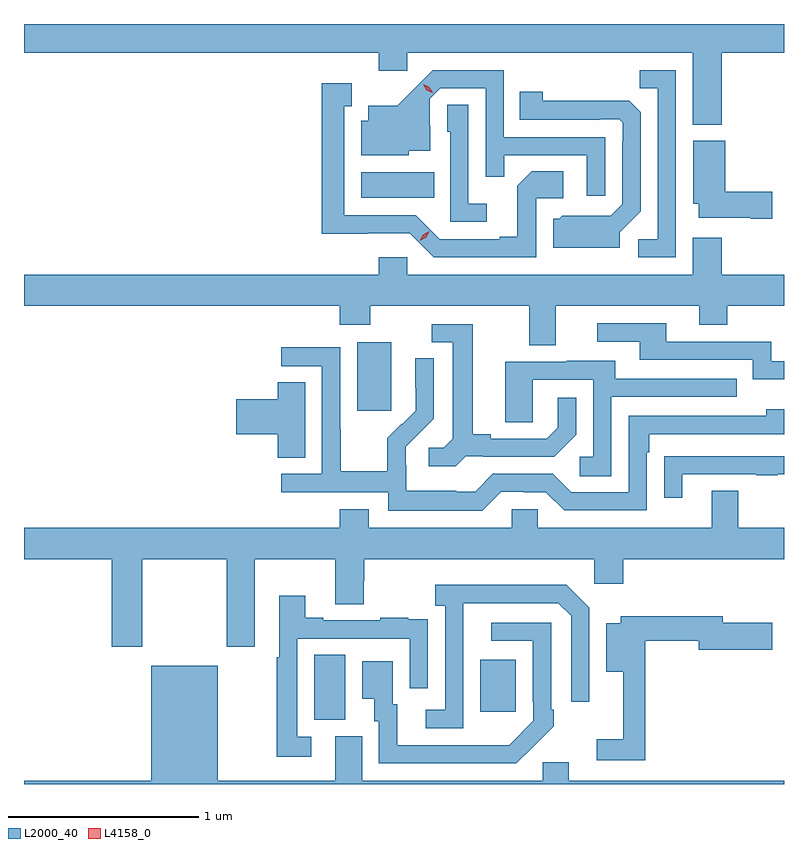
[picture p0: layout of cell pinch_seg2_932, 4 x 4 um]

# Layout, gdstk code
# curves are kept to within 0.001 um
import gdstk
lib = gdstk.Library(unit=1e-6, precision=1e-09)
def R(c, l, rs):  # rectangles x0, y0, x1, y1
    for r in rs: c.add(gdstk.rectangle(r[:2], r[2:], *l))
def P(c, l, *ps):  # polygons
    for p in ps: c.add(gdstk.Polygon(p, *l))
L2000_40 = (2000, 40)
L4158_0 = (4158, 0)

pinch_seg2_932 = lib.new_cell('pinch_seg2_932')
R(pinch_seg2_932, L2000_40, [(316.946,649.453,317.11,649.796), (317.819,649.497,318.007,649.771), (317.171,651.081,317.35,651.442), (317.192,652.202,317.576,652.336)])
P(pinch_seg2_932, L2000_40, [(319.091,652.964),(319.418,652.964),(319.418,653.116),(315.418,653.116),(315.418,652.964),(317.285,652.964),(317.285,652.869),(317.436,652.869),(317.436,652.964),(318.938,652.964),(318.938,652.586),(319.091,652.586)],
  [(318.849,652.872),(318.658,652.872),(318.658,652.777),(318.753,652.777),(318.753,651.984),(318.651,651.984),(318.651,651.888),(318.849,651.888)],
  [(318.477,652.521),(317.943,652.521),(317.943,652.872),(317.57,652.872),(317.383,652.687),(317.231,652.687),(317.231,652.606),(317.192,652.606),(317.192,652.424),(317.442,652.424),(317.442,652.448),(317.557,652.448),(317.557,652.58),(317.553,652.58),(317.553,652.722),(317.61,652.779),(317.847,652.779),(317.847,652.312),(317.945,652.312),(317.945,652.425),(318.381,652.425),(318.381,652.212),(318.477,652.212)],
  [(318.114,652.2),(318.256,652.2),(318.256,652.34),(318.091,652.34),(318.015,652.264),(318.015,651.997),(317.921,651.997),(317.921,651.984),(317.607,651.984),(317.481,652.11),(317.104,652.11),(317.104,652.683),(317.143,652.683),(317.143,652.804),(316.986,652.804),(316.986,652.013),(317.448,652.014),(317.574,651.888),(318.114,651.888)],
  [(318.553,652.02),(318.663,652.13),(318.663,652.652),(318.604,652.711),(318.147,652.712),(318.147,652.759),(318.028,652.759),(318.028,652.611),(318.452,652.611),(318.452,652.614),(318.552,652.614),(318.57,652.596),(318.57,652.496),(318.567,652.496),(318.567,652.167),(318.507,652.107),(318.25,652.108),(318.234,652.092),(318.203,652.092),(318.203,651.938),(318.553,651.938)],
  [(317.854,652.171),(317.757,652.171),(317.757,652.691),(317.646,652.691),(317.646,652.548),(317.661,652.548),(317.661,652.074),(317.854,652.074)],
  [(319.357,652.232),(319.108,652.232),(319.108,652.501),(318.941,652.501),(318.941,652.17),(318.968,652.17),(318.968,652.097),(319.244,652.097),(319.244,652.09),(319.357,652.09)],
  [(317.436,651.889),(317.285,651.889),(317.285,651.796),(315.418,651.796),(315.418,651.632),(317.081,651.632),(317.081,651.533),(317.241,651.533),(317.241,651.632),(318.077,651.632),(318.077,651.424),(318.217,651.424),(318.217,651.632),(318.971,651.632),(318.971,651.533),(319.119,651.533),(319.119,651.632),(319.418,651.632),(319.418,651.796),(319.091,651.796),(319.091,651.991),(318.938,651.991),(318.938,651.796),(317.436,651.796)],
  [(319.418,651.342),(319.35,651.342),(319.35,651.444),(318.799,651.444),(318.799,651.54),(318.435,651.54),(318.435,651.444),(318.659,651.444),(318.659,651.348),(319.254,651.348),(319.254,651.245),(319.418,651.245)],
  [(317.742,650.841),(317.836,650.841),(317.836,650.838),(318.208,650.838),(318.324,650.954),(318.324,651.148),(318.227,651.148),(318.227,650.991),(318.17,650.934),(317.875,650.934),(317.875,650.957),(317.779,650.957),(317.779,651.537),(317.565,651.537),(317.565,651.441),(317.675,651.441),(317.675,650.933),(317.628,650.886),(317.547,650.886),(317.547,650.789),(317.69,650.789)],
  [(317.931,650.655),(318.047,650.655),(318.047,650.652),(318.165,650.652),(318.261,650.556),(318.696,650.556),(318.696,650.861),(318.709,650.861),(318.709,650.958),(319.418,650.958),(319.418,651.088),(319.325,651.088),(319.325,651.054),(318.6,651.054),(318.6,650.652),(318.297,650.652),(318.201,650.748),(317.886,650.748),(317.793,650.655),(317.693,650.655),(317.693,650.659),(317.43,650.659),(317.43,650.793),(317.428,650.793),(317.428,650.89),(317.574,651.038),(317.574,651.356),(317.478,651.356),(317.478,651.202),(317.48,651.202),(317.48,651.08),(317.409,651.009),(317.406,651.012),(317.329,650.935),(317.329,650.761),(317.085,650.761),(317.085,650.984),(317.082,650.984),(317.082,651.414),(316.773,651.414),(316.773,651.315),(316.986,651.315),(316.986,650.748),(316.773,650.748),(316.773,650.652),(317.334,650.652),(317.334,650.555),(317.831,650.555)],
  [(318.51,651.153),(319.169,651.153),(319.169,651.249),(318.529,651.249),(318.529,651.343),(318.275,651.343),(318.275,651.339),(317.951,651.339),(317.951,651.019),(318.096,651.019),(318.096,651.243),(318.414,651.243),(318.414,650.838),(318.342,650.838),(318.342,650.737),(318.51,650.737)],
  [(316.897,651.23),(316.754,651.23),(316.754,651.14),(316.536,651.14),(316.536,650.957),(316.754,650.957),(316.754,650.833),(316.897,650.833)],
  [(318.883,650.745),(319.273,650.745),(319.273,650.74),(319.385,650.74),(319.385,650.745),(319.418,650.745),(319.418,650.841),(318.889,650.841),(318.889,650.84),(318.787,650.84),(318.787,650.622),(318.883,650.622)],
  [(316.041,650.3),(316.486,650.3),(316.486,649.839),(316.633,649.839),(316.633,650.3),(317.057,650.3),(317.057,650.062),(317.205,650.062),(317.205,650.187),(317.21,650.187),(317.21,650.3),(318.42,650.3),(318.42,650.169),(318.572,650.169),(318.572,650.3),(319.418,650.3),(319.418,650.464),(319.177,650.464),(319.177,650.659),(319.037,650.659),(319.037,650.464),(318.123,650.464),(318.123,650.562),(317.985,650.562),(317.985,650.464),(317.233,650.464),(317.233,650.563),(317.081,650.563),(317.081,650.464),(315.418,650.464),(315.418,650.3),(315.881,650.3),(315.881,649.839),(316.041,649.839)],
  [(317.73,649.867),(317.731,650.067),(318.231,650.067),(318.297,650.001),(318.297,649.548),(318.393,649.548),(318.393,650.043),(318.272,650.164),(317.583,650.164),(317.583,650.054),(317.634,650.054),(317.634,649.506),(317.532,649.506),(317.532,649.41),(317.73,649.41)],
  [(316.93,649.365),(316.857,649.365),(316.857,649.881),(317.448,649.881),(317.448,649.62),(317.544,649.62),(317.544,649.874),(317.543,649.874),(317.543,649.983),(317.441,649.983),(317.441,649.99),(317.293,649.99),(317.293,649.977),(316.993,649.977),(316.993,649.99),(316.897,649.99),(316.897,650.107),(316.761,650.107),(316.761,649.784),(316.749,649.784),(316.749,649.26),(316.93,649.26)],
  [(318.689,649.87),(318.968,649.87),(318.968,649.823),(319.357,649.823),(319.357,649.965),(319.096,649.965),(319.096,649.999),(318.558,649.999),(318.558,649.963),(318.482,649.963),(318.482,649.706),(318.572,649.706),(318.572,649.351),(318.432,649.351),(318.432,649.242),(318.689,649.242)],
  [(318.101,649.315),(318.102,649.314),(318.207,649.419),(318.207,649.507),(318.192,649.507),(318.192,649.965),(317.877,649.965),(317.877,649.869),(318.096,649.869),(318.096,649.549),(318.099,649.549),(318.099,649.449),(317.971,649.321),(317.383,649.32),(317.383,649.536),(317.359,649.536),(317.359,649.762),(317.198,649.762),(317.198,649.565),(317.261,649.565),(317.261,649.446),(317.286,649.446),(317.286,649.224),(318.01,649.224)],
  [(319.418,649.132),(318.286,649.132),(318.286,649.23),(318.147,649.23),(318.147,649.132),(317.197,649.132),(317.197,649.368),(317.057,649.368),(317.057,649.132),(316.438,649.132),(316.438,649.738),(316.088,649.738),(316.088,649.132),(315.418,649.132),(315.418,649.116),(319.418,649.116)])
P(pinch_seg2_932, L4158_0, [(317.567,652.753),(317.537,652.768),(317.519,652.798),(317.519,652.798),(317.52,652.798),(317.55,652.783),(317.568,652.754),(317.568,652.753)],
  [(317.502,651.974),(317.502,651.974),(317.52,652.007),(317.552,652.025),(317.552,652.025),(317.552,652.025),(317.534,651.993),(317.502,651.974)])

lib.write_gds('pinch_seg2_932.gds')
